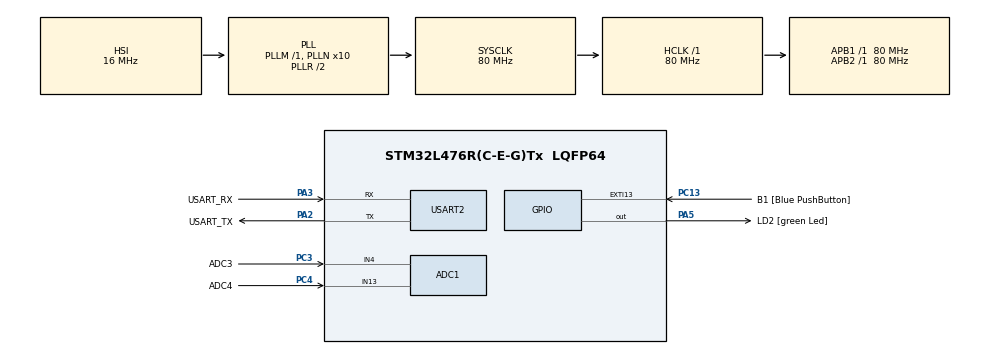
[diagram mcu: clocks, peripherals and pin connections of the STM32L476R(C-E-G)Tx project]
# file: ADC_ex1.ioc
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ADC1.Channel-1\#ChannelRegularConversion=ADC_CHANNEL_4
ADC1.Channel-2\#ChannelRegularConversion=ADC_CHANNEL_13
ADC1.ClockPrescaler=ADC_CLOCK_ASYNC_DIV8
ADC1.NbrOfConversion=2
ADC1.NbrOfConversionFlag=1
ADC1.OffsetNumber-1\#ChannelRegularConversion=ADC_OFFSET_NONE
ADC1.OffsetNumber-2\#ChannelRegularConversion=ADC_OFFSET_NONE
ADC1.Rank-1\#ChannelRegularConversion=1
ADC1.Rank-2\#ChannelRegularConversion=2
ADC1.SamplingTime-1\#ChannelRegularConversion=ADC_SAMPLETIME_247CYCLES_5
ADC1.SamplingTime-2\#ChannelRegularConversion=ADC_SAMPLETIME_247CYCLES_5
ADC1.master=1
Mcu.Family=STM32L4
Mcu.Name=STM32L476R(C-E-G)Tx
Mcu.Package=LQFP64
NVIC.ADC1_2_IRQn=true\:0\:0\:false\:false\:true\:true\:true
NVIC.PriorityGroup=NVIC_PRIORITYGROUP_4
PA13\ (JTMS-SWDIO).GPIO_Label=TMS
PA13\ (JTMS-SWDIO).Mode=Serial_Wire
PA13\ (JTMS-SWDIO).Signal=SYS_JTMS-SWDIO
PA14\ (JTCK-SWCLK).GPIO_Label=TCK
PA14\ (JTCK-SWCLK).Mode=Serial_Wire
PA14\ (JTCK-SWCLK).Signal=SYS_JTCK-SWCLK
PA2.GPIO_Label=USART_TX
PA2.GPIO_Mode=GPIO_MODE_AF_PP
PA2.GPIO_PuPd=GPIO_NOPULL
PA2.GPIO_Speed=GPIO_SPEED_FREQ_VERY_HIGH
PA2.Mode=Asynchronous
PA2.Signal=USART2_TX
PA3.GPIO_Label=USART_RX
PA3.GPIO_Mode=GPIO_MODE_AF_PP
PA3.GPIO_PuPd=GPIO_NOPULL
PA3.GPIO_Speed=GPIO_SPEED_FREQ_VERY_HIGH
PA3.Mode=Asynchronous
PA3.Signal=USART2_RX
PA5.GPIO_Label=LD2 [green Led]
PA5.GPIO_ModeDefaultOutputPP=GPIO_MODE_OUTPUT_PP
PA5.GPIO_PuPd=GPIO_NOPULL
PA5.GPIO_Speed=GPIO_SPEED_FREQ_LOW
PA5.Signal=GPIO_Output
PB3\ (JTDO-TRACESWO).GPIO_Label=SWO
PB3\ (JTDO-TRACESWO).Signal=SYS_JTDO-SWO
PC13.GPIO_Label=B1 [Blue PushButton]
PC13.GPIO_ModeDefaultEXTI=GPIO_MODE_IT_FALLING
PC13.GPIO_PuPd=GPIO_NOPULL
PC13.Signal=GPXTI13
PC14-OSC32_IN\ (PC14).Mode=LSE-External-Oscillator
PC14-OSC32_IN\ (PC14).Signal=RCC_OSC32_IN
PC15-OSC32_OUT\ (PC15).Mode=LSE-External-Oscillator
PC15-OSC32_OUT\ (PC15).Signal=RCC_OSC32_OUT
PC3.GPIO_Label=ADC3
PC3.Signal=ADCx_IN4
PC4.GPIO_Label=ADC4
PC4.Signal=ADCx_IN13
PH0-OSC_IN\ (PH0).Signal=RCC_OSC_IN
PH1-OSC_OUT\ (PH1).Signal=RCC_OSC_OUT
ProjectManager.HeapSize=0x200
ProjectManager.StackSize=0x400
ProjectManager.TargetToolchain=STM32CubeIDE
RCC.ADCFreq_Value=64000000
RCC.AHBFreq_Value=80000000
RCC.APB1Freq_Value=80000000
RCC.APB1TimFreq_Value=80000000
RCC.APB2Freq_Value=80000000
RCC.APB2TimFreq_Value=80000000
RCC.CortexFreq_Value=80000000
RCC.HCLKFreq_Value=80000000
RCC.HSE_VALUE=8000000
RCC.HSI_VALUE=16000000
RCC.MSI_VALUE=4000000
RCC.PLLN=10
RCC.PLLSourceVirtual=RCC_PLLSOURCE_HSI
RCC.PREFETCH_ENABLE=1
RCC.SYSCLKFreq_VALUE=80000000
RCC.SYSCLKSource=RCC_SYSCLKSOURCE_PLLCLK
RCC.USBFreq_Value=64000000
RCC.VCOOutputFreq_Value=160000000
SH.ADCx_IN13.0=ADC1_IN13,IN13-Single-Ended
SH.ADCx_IN4.0=ADC1_IN4,IN4-Single-Ended
USART2.VirtualMode-Asynchronous=VM_ASYNC
board=NUCLEO-L476RG

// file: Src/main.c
/* USER CODE BEGIN Header */
/**
 ******************************************************************************
 * @file           : main.c
 * @brief          : Main program body
 ******************************************************************************
 * @attention
 *
 * <h2><center>&copy; Copyright (c) 2019 STMicroelectronics.
 * All rights reserved.</center></h2>
 *
 * This software component is licensed by ST under BSD 3-Clause license,
 * the "License"; You may not use this file except in compliance with the
 * License. You may obtain a copy of the License at:
 *                        opensource.org/licenses/BSD-3-Clause
 *
 ******************************************************************************
 */
/* USER CODE END Header */
#include "main.h"
#include "adc.h"
#include "usart.h"
#include "gpio.h"

void SystemClock_Config(void);

/* USER CODE BEGIN 0 */

enum Stages {
	ADC_Idle, ADC_Converting, ADC_Ready,
};

volatile enum Stages flag = ADC_Idle;
volatile uint16_t measurement;
volatile uint8_t measured_channel;
volatile uint32_t adc_channels[] = { ADC_CHANNEL_4, ADC_CHANNEL_13 };

void HAL_ADC_ConvCpltCallback(ADC_HandleTypeDef *hadc) {

}

/* USER CODE END 0 */

int main(void) {
	/* USER CODE BEGIN 1 */

	uint32_t last_time;

	/* USER CODE END 1 */

	/* MCU Configuration--------------------------------------------------------*/

	/* Reset of all peripherals, Initializes the Flash interface and the Systick. */
	HAL_Init();

	/* Configure the system clock */
	SystemClock_Config();

	/* Initialize all configured peripherals */
	MX_GPIO_Init();
	MX_ADC1_Init();
	MX_USART2_UART_Init();

	/* Infinite loop */
	/* USER CODE BEGIN WHILE */
	while (1) {
		switch (flag) {
		case ADC_Idle: {
			break;
		}
		case ADC_Converting: {
			break;
		}
		case ADC_Ready: {
			break;
		}
		}
		/* USER CODE END WHILE */

	}
}

void SystemClock_Config(void) {
	RCC_OscInitTypeDef RCC_OscInitStruct = { 0 };
	RCC_ClkInitTypeDef RCC_ClkInitStruct = { 0 };
	RCC_PeriphCLKInitTypeDef PeriphClkInit = { 0 };

	/** Initializes the RCC Oscillators according to the specified parameters
	 * in the RCC_OscInitTypeDef structure.
	 */
	RCC_OscInitStruct.OscillatorType = RCC_OSCILLATORTYPE_HSI;
	RCC_OscInitStruct.HSIState = RCC_HSI_ON;
	RCC_OscInitStruct.HSICalibrationValue = RCC_HSICALIBRATION_DEFAULT;
	RCC_OscInitStruct.PLL.PLLState = RCC_PLL_ON;
	RCC_OscInitStruct.PLL.PLLSource = RCC_PLLSOURCE_HSI;
	RCC_OscInitStruct.PLL.PLLM = 1;
	RCC_OscInitStruct.PLL.PLLN = 10;
	RCC_OscInitStruct.PLL.PLLP = RCC_PLLP_DIV7;
	RCC_OscInitStruct.PLL.PLLQ = RCC_PLLQ_DIV2;
	RCC_OscInitStruct.PLL.PLLR = RCC_PLLR_DIV2;
	if (HAL_RCC_OscConfig(&RCC_OscInitStruct) != HAL_OK) {
		Error_Handler();
	}
	/** Initializes the CPU, AHB and APB buses clocks
	 */
	RCC_ClkInitStruct.ClockType = RCC_CLOCKTYPE_HCLK | RCC_CLOCKTYPE_SYSCLK
			| RCC_CLOCKTYPE_PCLK1 | RCC_CLOCKTYPE_PCLK2;
	RCC_ClkInitStruct.SYSCLKSource = RCC_SYSCLKSOURCE_PLLCLK;
	RCC_ClkInitStruct.AHBCLKDivider = RCC_SYSCLK_DIV1;
	RCC_ClkInitStruct.APB1CLKDivider = RCC_HCLK_DIV1;
	RCC_ClkInitStruct.APB2CLKDivider = RCC_HCLK_DIV1;

	if (HAL_RCC_ClockConfig(&RCC_ClkInitStruct, FLASH_LATENCY_4) != HAL_OK) {
		Error_Handler();
	}
	PeriphClkInit.PeriphClockSelection = RCC_PERIPHCLK_USART2
			| RCC_PERIPHCLK_ADC;
	PeriphClkInit.Usart2ClockSelection = RCC_USART2CLKSOURCE_PCLK1;
	PeriphClkInit.AdcClockSelection = RCC_ADCCLKSOURCE_PLLSAI1;
	PeriphClkInit.PLLSAI1.PLLSAI1Source = RCC_PLLSOURCE_HSI;
	PeriphClkInit.PLLSAI1.PLLSAI1M = 1;
	PeriphClkInit.PLLSAI1.PLLSAI1N = 8;
	PeriphClkInit.PLLSAI1.PLLSAI1P = RCC_PLLP_DIV7;
	PeriphClkInit.PLLSAI1.PLLSAI1Q = RCC_PLLQ_DIV2;
	PeriphClkInit.PLLSAI1.PLLSAI1R = RCC_PLLR_DIV2;
	PeriphClkInit.PLLSAI1.PLLSAI1ClockOut = RCC_PLLSAI1_ADC1CLK;
	if (HAL_RCCEx_PeriphCLKConfig(&PeriphClkInit) != HAL_OK) {
		Error_Handler();
	}
	/** Configure the main internal regulator output voltage
	 */
	if (HAL_PWREx_ControlVoltageScaling(PWR_REGULATOR_VOLTAGE_SCALE1)
			!= HAL_OK) {
		Error_Handler();
	}
}

void Error_Handler(void) {
}

/************************ (C) COPYRIGHT STMicroelectronics *****END OF FILE****/
